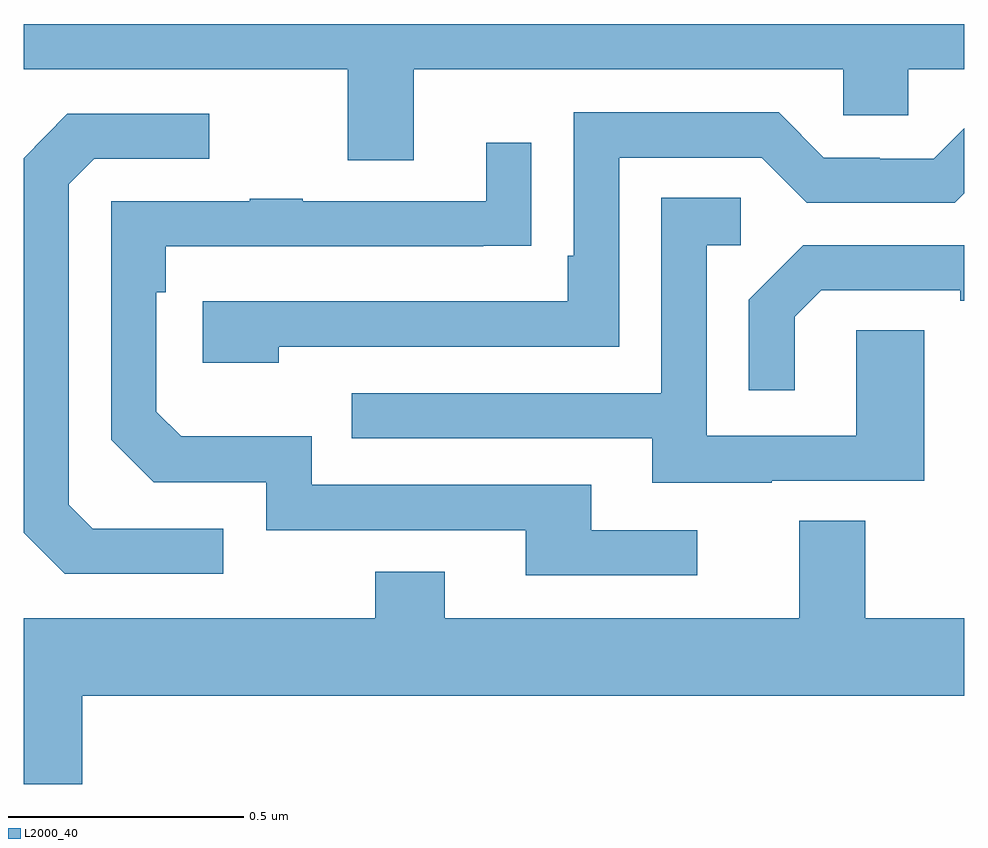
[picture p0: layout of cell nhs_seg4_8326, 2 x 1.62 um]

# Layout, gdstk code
import gdstk
lib = gdstk.Library(unit=1e-6, precision=1e-09)
def P(c, l, *ps):  # polygons
    for p in ps: c.add(gdstk.Polygon(p, *l))
L2000_40 = (2000, 40)

nhs_seg4_8326 = lib.new_cell('nhs_seg4_8326')
P(nhs_seg4_8326, L2000_40, [(213.829,812.804),(214.743,812.804),(214.743,812.706),(214.881,812.706),(214.881,812.804),(215,812.804),(215,812.9),(213,812.9),(213,812.804),(213.689,812.804),(213.689,812.61),(213.829,812.61)],
  [(213.542,812.214),(214.266,812.214),(214.266,812.616),(214.569,812.616),(214.665,812.52),(214.98,812.52),(215,812.54),(215,812.678),(214.935,812.613),(214.82,812.613),(214.82,812.616),(214.701,812.616),(214.605,812.712),(214.17,812.712),(214.17,812.407),(214.157,812.407),(214.157,812.31),(213.381,812.31),(213.381,812.18),(213.542,812.18)],
  [(213.424,811.827),(213.147,811.827),(213.096,811.878),(213.096,812.559),(213.15,812.613),(213.394,812.613),(213.394,812.709),(213.093,812.709),(213,812.615),(213,811.818),(213.087,811.731),(213.424,811.731)],
  [(214.432,811.824),(214.207,811.824),(214.207,811.92),(213.612,811.92),(213.612,812.023),(213.335,812.023),(213.282,812.076),(213.282,812.33),(213.302,812.33),(213.302,812.427),(213.977,812.427),(213.977,812.428),(214.079,812.428),(214.079,812.647),(213.983,812.647),(213.983,812.523),(213.593,812.523),(213.593,812.528),(213.481,812.528),(213.481,812.523),(213.186,812.523),(213.186,812.016),(213.276,811.926),(213.516,811.926),(213.516,811.824),(214.067,811.824),(214.067,811.728),(214.432,811.728)],
  [(214.591,811.929),(214.915,811.929),(214.915,812.249),(214.77,812.249),(214.77,812.025),(214.452,812.025),(214.452,812.43),(214.525,812.43),(214.525,812.531),(214.356,812.531),(214.356,812.115),(213.697,812.115),(213.697,812.019),(214.337,812.019),(214.337,811.925),(214.591,811.925)],
  [(214.639,812.277),(214.696,812.334),(214.991,812.334),(214.991,812.312),(215,812.312),(215,812.43),(214.658,812.43),(214.542,812.314),(214.542,812.121),(214.639,812.121)],
  [(213.124,811.472),(215,811.472),(215,811.636),(214.789,811.636),(214.789,811.844),(214.649,811.844),(214.649,811.636),(213.895,811.636),(213.895,811.735),(213.748,811.735),(213.748,811.636),(213,811.636),(213,811.284),(213.124,811.284)])

lib.write_gds('nhs_seg4_8326.gds')
